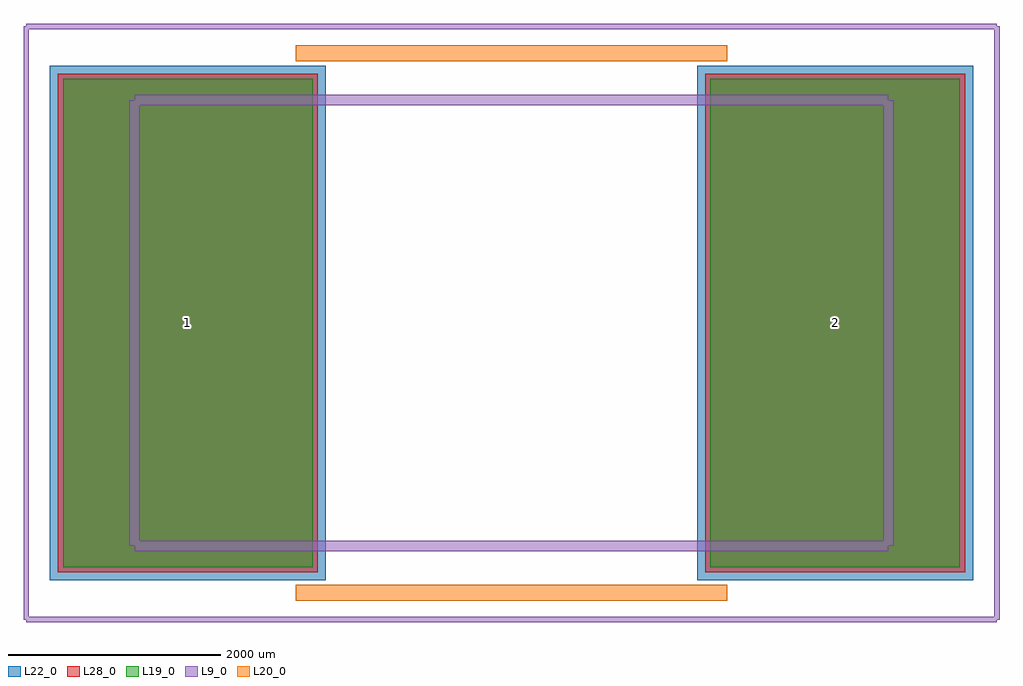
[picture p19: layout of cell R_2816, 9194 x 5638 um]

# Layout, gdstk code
import gdstk
lib = gdstk.Library(unit=1e-6, precision=1e-09)
def R(c, l, rs):  # rectangles x0, y0, x1, y1
    for r in rs: c.add(gdstk.rectangle(r[:2], r[2:], *l))
L9_0 = (9, 0)
L19_0 = (19, 0)
L20_0 = (20, 0)
L22_0 = (22, 0)
L28_0 = (28, 0)

r_2816 = lib.new_cell('R_2816')
R(r_2816, L19_0, [(-4223,-2300,-1873,2300), (1873,-2300,4223,2300)])
R(r_2816, L22_0, [(-4348,-2425,-1748,2425), (1748,-2425,4348,2425)])
R(r_2816, L28_0, [(-4273,-2350,-1823,2350), (1823,-2350,4273,2350)])
r_2816.add(gdstk.FlexPath([(-2032,2540),(2032,2540)], 149.998, ends="flush", simple_path=True, layer=20, datatype=0))  # L20_0
r_2816.add(gdstk.FlexPath([(-2032,-2540),(2032,-2540)], 149.998, ends="flush", simple_path=True, layer=20, datatype=0))  # L20_0
r_2816.add(gdstk.FlexPath([(-4572,-2794),(-4572,2794)], 50, ends="flush", simple_path=True, layer=9, datatype=0))  # L9_0
r_2816.add(gdstk.FlexPath([(4572,-2794),(-4572,-2794)], 50, ends="flush", simple_path=True, layer=9, datatype=0))  # L9_0
r_2816.add(gdstk.FlexPath([(4572,2794),(4572,-2794)], 50, ends="flush", simple_path=True, layer=9, datatype=0))  # L9_0
r_2816.add(gdstk.FlexPath([(-4572,2794),(4572,2794)], 50, ends="flush", simple_path=True, layer=9, datatype=0))  # L9_0
r_2816.add(gdstk.FlexPath([(-3550,-2100),(3550,-2100)], 100, ends="flush", simple_path=True, layer=9, datatype=0))  # L9_0
r_2816.add(gdstk.FlexPath([(3550,-2100),(3550,2100)], 100, ends="flush", simple_path=True, layer=9, datatype=0))  # L9_0
r_2816.add(gdstk.FlexPath([(3550,2100),(-3550,2100)], 100, ends="flush", simple_path=True, layer=9, datatype=0))  # L9_0
r_2816.add(gdstk.FlexPath([(-3550,2100),(-3550,-2100)], 100, ends="flush", simple_path=True, layer=9, datatype=0))  # L9_0
r_2816.add(gdstk.Label('2', (3048,0), layer=28, texttype=0))
r_2816.add(gdstk.Label('1', (-3048,0), layer=28, texttype=0))
r_2816.add(gdstk.Label('type', (0,-3810), layer=9, texttype=0))
r_2816.add(gdstk.Label('devicename', (0,3810), layer=9, texttype=0))

lib.write_gds('R_2816.gds')
